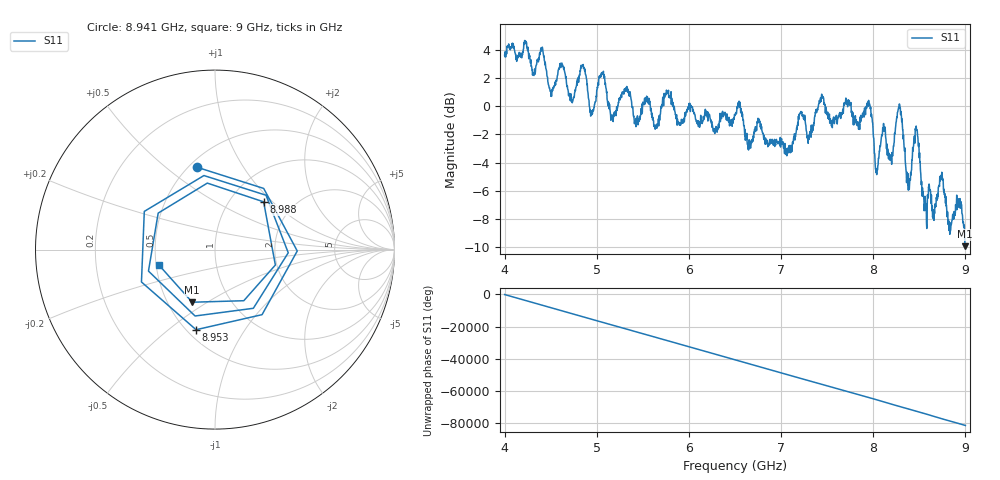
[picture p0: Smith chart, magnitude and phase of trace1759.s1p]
! Created with skrf 1.8.0 (http://scikit-rf.org).
# Hz S RI R 50.0
!freq ReS11 ImS11
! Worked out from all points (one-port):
!   1601 points, 4 GHz to 9 GHz, reference 50 ohm
!   lowest |S11| = -9.9 dB at 8.997 GHz (marker M1), VSWR 1.94, Z = 33.1 - j21.6 ohm
!   |S11| at or under -10 dB: nowhere
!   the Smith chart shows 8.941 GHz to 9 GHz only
!   S11 on the Smith chart (normalised r, x): 8.941 GHz: 0.55, +0.64; 8.953 GHz: 0.56, -0.63; 8.988 GHz: 1.42, +0.88; 9 GHz: 0.52, -0.10
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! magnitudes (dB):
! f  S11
! 4 GHz  3.6
! 4.403 GHz  4.1
! 4.506 GHz  0.9
! 4.625 GHz  2.8
! 4.728 GHz  0.5
! 4.856 GHz  2.7
! 4.944 GHz  -0.5
! 5.053 GHz  2.4
! 5.159 GHz  -0.8
! 5.25 GHz  0.6
! 5.875 GHz  -0.9
! 6.5 GHz  -0.7
! 7.125 GHz  -2.5
! 7.438 GHz  0.7
! 7.75 GHz  0.1
! 7.956 GHz  0.1
! 8.038 GHz  -4.8
! 8.109 GHz  -1.6
! 8.197 GHz  -3.7
! 8.288 GHz  0.1
! 8.375 GHz  -5.6
! 8.466 GHz  -1.4
! 8.559 GHz  -7.2
! 8.941 GHz  -6.5
! 8.953 GHz  -6.8
! 8.988 GHz  -8.4
! 8.997 GHz  -9.9
! 9 GHz  -9.8
